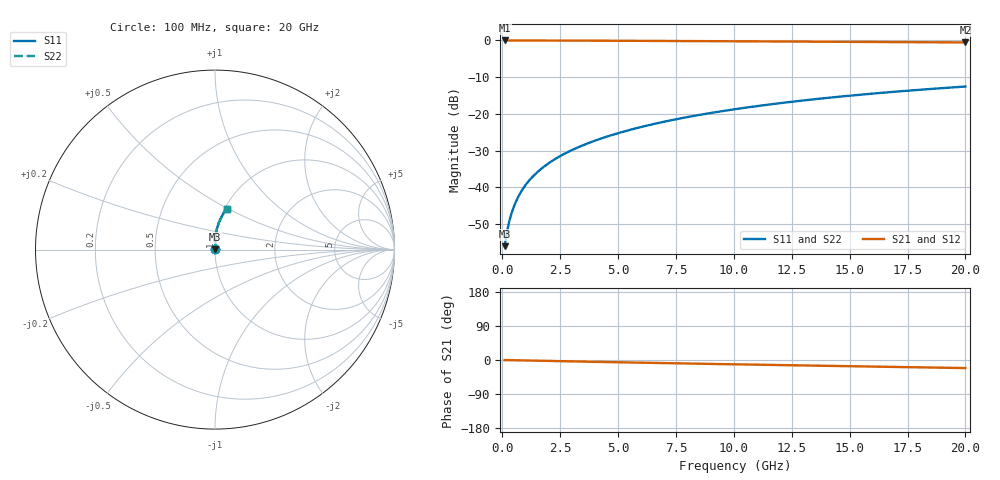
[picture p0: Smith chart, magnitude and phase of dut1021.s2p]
! Touchstone file exported from HFSS 2024.1.0
!  File:  C:/UserFiles/LocalFiles/RDL_TSV_Batchsim/temp_RDL_top_1021_1780043197.aedt
!  Generated:  04:29:07 PM May 29, 2026
!  Design:  RDL_top
!  Project:  temp_RDL_top_1021_1780043197
!  Setup:  Setup1
!  Solution:  Sweep
! Variables:
!  dtsv = 10.80580581um
!  hbump = 3um
!  htsv = 99.26um
!  ldown = 100um
!  lrdl = 251.86um
!  p = 40
!  p1 = 58.73um
!  rhole = 1um
!  t = 450um
!  tdown = 3.915915916um
!  trdl = 4.24um
!  wdown = 15.38538539um
!  wrdl = 22.93um
# GHz S MA R 50.000000
! Terminal data exported
! Port[1] = Box2_T1
! Port[2] = Box2_T2
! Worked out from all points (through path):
!   200 points, 100 MHz to 20 GHz, reference 50 ohm
!   highest |S21| = -0.01 dB at 100 MHz (marker M1); lowest = -0.5 dB at 20 GHz (marker M2)
!   group delay of S21, straight-line fit = 2.92 ps
!   lowest |S11| = -56.1 dB at 100 MHz (marker M3), VSWR 1.00, Z = 50.1 + j0.113 ohm
!   |S11| at or under -10 dB: start of sweep to end of sweep
!   |S22| runs from -56.1 to -12.6 dB; largest |S21 - S12| = 2.5e-15
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0.1  0.001573 45.7  0.9989 -0.1  0.9989 -0.1  0.001573 45.7
! Gamma 0 0 0 0
! Port Impedance 50 0 50 0
0.2  0.002454 62.3  0.9988 -0.3  0.9988 -0.3  0.002454 62.3
0.3  0.00342 70.2  0.9988 -0.4  0.9988 -0.4  0.003419 70.2
0.4  0.004424 74.7  0.9987 -0.5  0.9987 -0.5  0.004423 74.7
0.5  0.005447 77.6  0.9986 -0.6  0.9986 -0.6  0.005447 77.6
0.6  0.00648 79.5  0.9985 -0.8  0.9985 -0.8  0.00648 79.5
0.8  0.008563 82.0  0.9984 -1.0  0.9984 -1.0  0.008563 82.0
1.1  0.0117 84.1  0.9981 -1.4  0.9981 -1.4  0.01171 84.1
1.5  0.01591 85.6  0.9977 -1.9  0.9977 -1.9  0.01591 85.6
1.8  0.01909 86.3  0.9973 -2.2  0.9973 -2.2  0.01909 86.3
2.1  0.02228 86.9  0.9968 -2.6  0.9968 -2.6  0.02228 86.9
2.7  0.02873 87.6  0.9957 -3.3  0.9957 -3.3  0.02873 87.6
3.5  0.03749 88.1  0.9938 -4.3  0.9938 -4.3  0.03749 88.1
4.2  0.04533 88.2  0.992 -5.1  0.992 -5.1  0.04533 88.2
5  0.05449 88.2  0.9897 -6.0  0.9897 -6.0  0.05448 88.2
5.9  0.06502 87.9  0.9869 -7.0  0.9869 -7.0  0.06501 87.9
6.8  0.07576 87.5  0.984 -8.0  0.984 -8.0  0.07576 87.5
8.4  0.09524 86.3  0.9788 -9.7  0.9788 -9.7  0.09524 86.3
10.1  0.1162 84.8  0.9731 -11.5  0.9731 -11.5  0.1162 84.8
13.4  0.157 81.3  0.9621 -14.8  0.9621 -14.8  0.157 81.3
16.7  0.197 77.6  0.9509 -18.1  0.9509 -18.1  0.197 77.6
20  0.2355 74.0  0.9392 -21.3  0.9392 -21.3  0.2354 74.0
